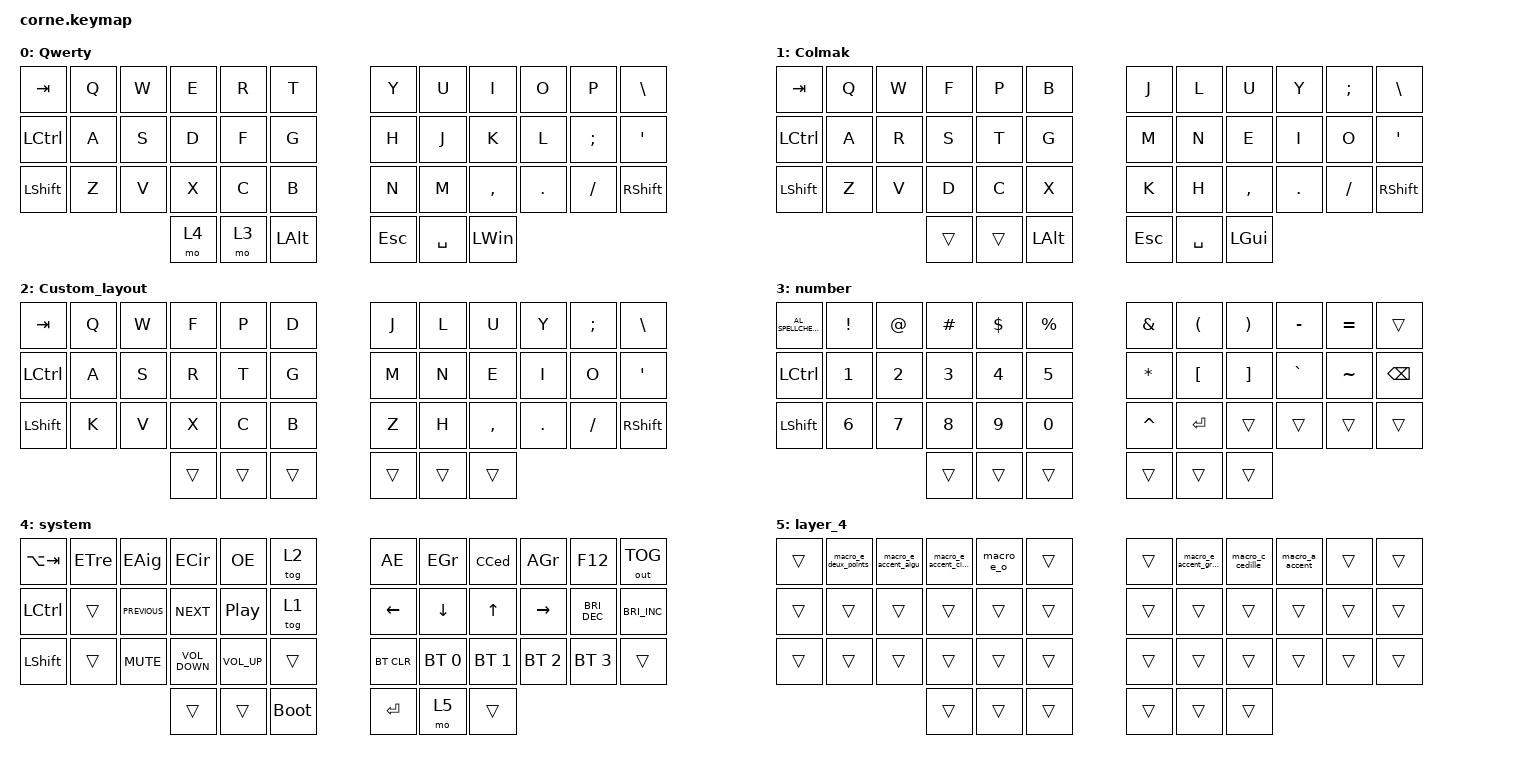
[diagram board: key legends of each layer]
/*
 * Copyright (c) 2020 The ZMK Contributors
 *
 * SPDX-License-Identifier: MIT
 */

#define HOST_OS 1

#include "keymap_french.h"
#include "helper.h"
#include "french_unicode.dtsi"
#include <behaviors.dtsi>
#include <dt-bindings/zmk/bt.h>
#include <dt-bindings/zmk/keys.h>
#include <dt-bindings/zmk/outputs.h>

/ {
    behaviors {
        #include "macros.dtsi"
    };

    keymap {
        compatible = "zmk,keymap";

        Qwerty {
            // -----------------------------------------------------------------------------------------
            // |  TAB |  Q  |  W  |  E  |  R  |  T  |   |  Y  |  U   |  I  |  O  |  P  | BKSP |
            // | CTRL |  A  |  S  |  D  |  F  |  G  |   |  H  |  J   |  K  |  L  |  ;  |  '   |
            // | SHFT |  Z  |  X  |  C  |  V  |  B  |   |  N  |  M   |  ,  |  .  |  /  | ESC  |
            //                    | GUI | LWR | SPC |   | ENT | RSE  | ALT |

            bindings = <
&kp TAB           &kp Q  &kp W  &kp E  &kp R  &kp T           &kp Y       &kp U      &kp I         &kp O    &kp P     &kp BACKSLASH
&kp LEFT_CONTROL  &kp A  &kp S  &kp D  &kp F  &kp G           &kp H       &kp J      &kp K         &kp L    &kp SEMI  &kp SQT
&kp LEFT_SHIFT    &kp Z  &kp V  &kp X  &kp C  &kp B           &kp N       &kp M      &kp COMMA     &kp DOT  &kp FSLH  &kp RIGHT_SHIFT
                                &mo 4  &mo 3  &kp LEFT_ALT    &kp ESCAPE  &kp SPACE  &kp LEFT_WIN
            >;
        };

        Colmak {
            bindings = <
&kp TAB    &kp Q  &kp W  &kp F   &kp P   &kp B       &kp J    &kp L      &kp U      &kp Y    &kp SEMI  &kp BSLH
&kp LCTRL  &kp A  &kp R  &kp S   &kp T   &kp G       &kp M    &kp N      &kp E      &kp I    &kp O     &kp APOS
&kp LSHFT  &kp Z  &kp V  &kp D   &kp C   &kp X       &kp K    &kp H      &kp COMMA  &kp DOT  &kp FSLH  &kp RSHFT
                         &trans  &trans  &kp LALT    &kp ESC  &kp SPACE  &kp LGUI
            >;
        };

        Custom_layout {
            bindings = <
&kp TAB    &kp Q  &kp W  &kp F   &kp P   &kp D     &kp J   &kp L   &kp U      &kp Y    &kp SEMICOLON  &kp BSLH
&kp LCTRL  &kp A  &kp S  &kp R   &kp T   &kp G     &kp M   &kp N   &kp E      &kp I    &kp O          &kp APOS
&kp LSHFT  &kp K  &kp V  &kp X   &kp C   &kp B     &kp Z   &kp H   &kp COMMA  &kp DOT  &kp FSLH       &kp RSHFT
                         &trans  &trans  &trans    &trans  &trans  &trans
            >;
        };

        number {
            // -----------------------------------------------------------------------------------------
            // |  TAB |  1  |  2  |  3  |  4  |  5  |   |  6  |  7  |  8  |  9  |  0  | BKSP |
            // | BTCLR| BT1 | BT2 | BT3 | BT4 | BT5 |   | LFT | DWN |  UP | RGT |     |      |
            // | SHFT |     |     |     |     |     |   |     |     |     |     |     |      |
            //                    | GUI |     | SPC |   | ENT |     | ALT |

            bindings = <
&kp C_AL_SPELLCHECK  &kp EXCLAMATION  &kp AT_SIGN   &kp POUND     &kp DOLLAR    &kp PERCENT    &kp AMPERSAND  &kp LEFT_PARENTHESIS  &kp RIGHT_PARENTHESIS  &kp MINUS  &kp EQUAL  &trans
&kp LEFT_CONTROL     &kp NUMBER_1     &kp NUMBER_2  &kp NUMBER_3  &kp NUMBER_4  &kp N5         &kp ASTERISK   &kp LEFT_BRACKET      &kp RIGHT_BRACKET      &kp GRAVE  &kp TILDE  &kp BACKSPACE
&kp LSHFT            &kp NUMBER_6     &kp N7        &kp N8        &kp N9        &kp N0         &kp CARET      &kp RET         &trans                 &trans     &trans     &trans
                                                    &trans        &trans        &trans         &trans        &trans                &trans
            >;
        };

        system {
            // -----------------------------------------------------------------------------------------
            // |  TAB |  !  |  @  |  #  |  $  |  %  |   |  ^  |  &  |  *  |  (  |  )  | BKSP |
            // | CTRL |     |     |     |     |     |   |  -  |  =  |  [  |  ]  |  \  |  `   |
            // | SHFT |     |     |     |     |     |   |  _  |  +  |  {  |  }  | "|" |  ~   |
            //                    | GUI |     | SPC |   | ENT |     | ALT |

            bindings = <
&kp LA(TAB)  &ETre   &EAig           &ECir              &OE               &tog 2         &AE         &EGr          &CCed         &AGr          &kp F12               &out OUT_TOG
&kp LCTRL    &trans  &kp C_PREVIOUS  &kp C_NEXT         &kp C_PLAY_PAUSE  &tog 1         &kp LEFT    &kp DOWN      &kp UP_ARROW  &kp RIGHT     &kp C_BRIGHTNESS_DEC  &kp C_BRIGHTNESS_INC
&kp LSHFT    &trans  &kp C_MUTE      &kp C_VOLUME_DOWN  &kp C_VOLUME_UP   &trans         &bt BT_CLR  &bt BT_SEL 0  &bt BT_SEL 1  &bt BT_SEL 2  &bt BT_SEL 3          &trans
                                     &trans             &trans            &bootloader    &kp RET     &mo 5         &trans
            >;
        };

        layer_4 {
            bindings = <
&trans  &macro_e_deux_points  &macro_e_accent_aigu  &macro_e_accent_circon  &macro_e_o  &trans    &trans  &macro_e_accent_grave  &macro_c_cedille  &macro_a_accent  &trans  &trans
&trans  &trans                &trans                &trans                  &trans      &trans    &trans  &trans                 &trans            &trans           &trans  &trans
&trans  &trans                &trans                &trans                  &trans      &trans    &trans  &trans                 &trans            &trans           &trans  &trans
                                                    &trans                  &trans      &trans    &trans  &trans                 &trans
            >;
        };
    };
};
